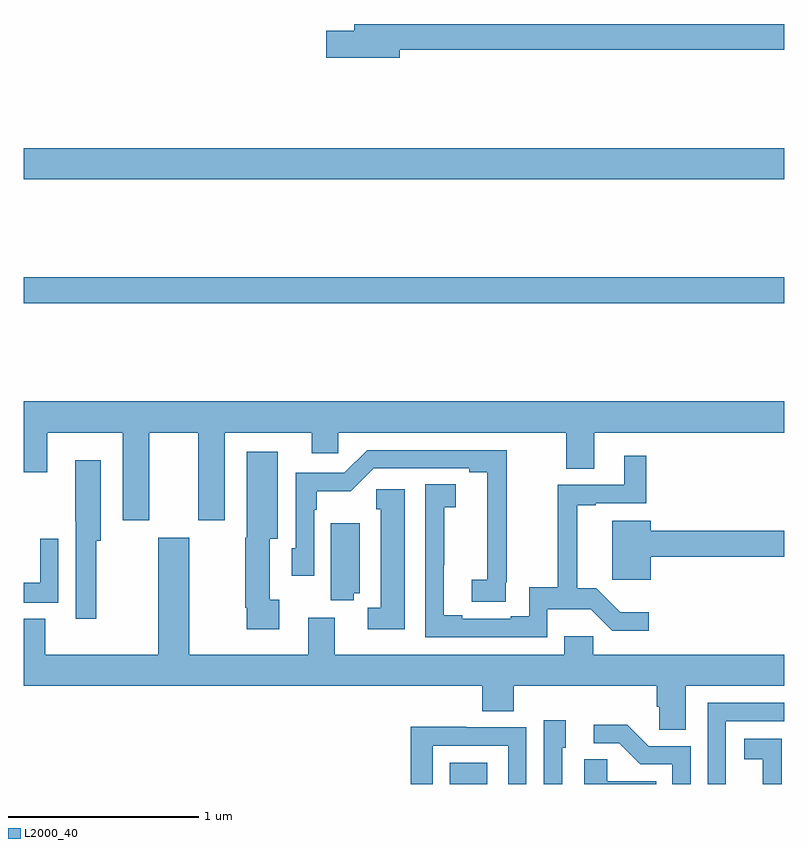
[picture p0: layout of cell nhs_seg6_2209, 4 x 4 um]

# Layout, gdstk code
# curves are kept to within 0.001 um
import gdstk
lib = gdstk.Library(unit=1e-6, precision=1e-09)
def R(c, l, rs):  # rectangles x0, y0, x1, y1
    for r in rs: c.add(gdstk.rectangle(r[:2], r[2:], *l))
def P(c, l, *ps):  # polygons
    for p in ps: c.add(gdstk.Polygon(p, *l))
L2000_40 = (2000, 40)

nhs_seg6_2209 = lib.new_cell('nhs_seg6_2209')
R(nhs_seg6_2209, L2000_40, [(245.24,933.5,245.437,933.613), (243,936.028,247,936.164), (243,936.68,247,936.844)])
P(nhs_seg6_2209, L2000_40, [(244.978,937.36),(247,937.36),(247,937.496),(244.739,937.496),(244.739,937.46),(244.59,937.46),(244.59,937.318),(244.978,937.318)],
  [(243.661,935.348),(243.917,935.348),(243.917,934.887),(244.057,934.887),(244.057,935.348),(244.514,935.348),(244.514,935.238),(244.653,935.238),(244.653,935.348),(245.854,935.348),(245.854,935.158),(246.001,935.158),(246.001,935.348),(247,935.348),(247,935.512),(243,935.512),(243,935.14),(243.123,935.14),(243.123,935.348),(243.521,935.348),(243.521,934.887),(243.661,934.887)],
  [(245.534,934.561),(245.54,934.561),(245.54,935.256),(244.806,935.256),(244.686,935.136),(244.431,935.136),(244.431,934.74),(244.41,934.74),(244.41,934.596),(244.527,934.596),(244.527,934.943),(244.54,934.943),(244.54,935.039),(244.721,935.039),(244.842,935.16),(245.342,935.16),(245.342,935.14),(245.438,935.14),(245.437,934.574),(245.355,934.574),(245.355,934.459),(245.534,934.459)],
  [(244.345,934.47),(244.294,934.47),(244.294,934.79),(244.336,934.79),(244.336,935.248),(244.172,935.248),(244.172,934.794),(244.165,934.794),(244.165,934.426),(244.172,934.426),(244.172,934.314),(244.345,934.314)],
  [(245.754,934.418),(245.983,934.418),(246.096,934.305),(246.286,934.305),(246.286,934.402),(246.137,934.402),(246.011,934.528),(245.912,934.528),(245.912,934.965),(246.007,934.965),(246.007,934.977),(246.275,934.977),(246.275,935.227),(246.158,935.227),(246.158,935.073),(245.809,935.073),(245.809,934.535),(245.658,934.535),(245.658,934.382),(245.561,934.382),(245.561,934.368),(245.305,934.368),(245.305,934.388),(245.209,934.388),(245.209,934.651),(245.211,934.651),(245.211,934.955),(245.272,934.955),(245.272,935.075),(245.112,935.075),(245.112,934.272),(245.754,934.272)],
  [(243.382,934.778),(243.406,934.778),(243.406,935.203),(243.272,935.203),(243.272,934.882),(243.273,934.882),(243.273,934.368),(243.382,934.368)],
  [(245.005,935.05),(244.855,935.05),(244.855,934.944),(244.877,934.944),(244.877,934.428),(244.809,934.428),(244.809,934.313),(245.005,934.313)],
  [(246.298,934.696),(247,934.696),(247,934.832),(246.298,934.832),(246.298,934.885),(246.095,934.885),(246.095,934.575),(246.298,934.575)],
  [(244.736,934.502),(244.768,934.502),(244.768,934.87),(244.616,934.87),(244.616,934.465),(244.736,934.465)],
  [(246.481,934.016),(247,934.016),(247,934.18),(245.995,934.18),(245.995,934.278),(245.843,934.278),(245.843,934.18),(244.636,934.18),(244.636,934.375),(244.496,934.375),(244.496,934.18),(243.871,934.18),(243.871,934.795),(243.707,934.795),(243.707,934.18),(243.115,934.18),(243.115,934.369),(243,934.369),(243,934.016),(245.411,934.016),(245.411,933.883),(245.576,933.883),(245.576,934.016),(246.329,934.016),(246.329,933.907),(246.342,933.907),(246.342,933.784),(246.481,933.784)],
  [(243.183,934.789),(243.087,934.789),(243.087,934.558),(243,934.558),(243,934.454),(243.183,934.454)],
  [(246.693,933.831),(247,933.831),(247,933.927),(246.597,933.927),(246.597,933.5),(246.693,933.5)],
  [(245.832,933.69),(245.851,933.69),(245.851,933.835),(245.736,933.835),(245.736,933.5),(245.832,933.5)],
  [(246.507,933.699),(246.288,933.699),(246.175,933.812),(245.997,933.812),(245.997,933.714),(246.131,933.714),(246.242,933.603),(246.411,933.603),(246.411,933.5),(246.507,933.5)],
  [(245.151,933.702),(245.547,933.702),(245.547,933.5),(245.643,933.5),(245.643,933.798),(245.327,933.798),(245.327,933.8),(245.035,933.8),(245.035,933.5),(245.151,933.5)],
  [(246.986,933.533),(246.987,933.533),(246.987,933.739),(246.789,933.739),(246.789,933.629),(246.887,933.629),(246.887,933.5),(246.986,933.5)],
  [(246.326,933.514),(246.069,933.514),(246.069,933.629),(245.948,933.629),(245.948,933.5),(246.326,933.5)])

lib.write_gds('nhs_seg6_2209.gds')
